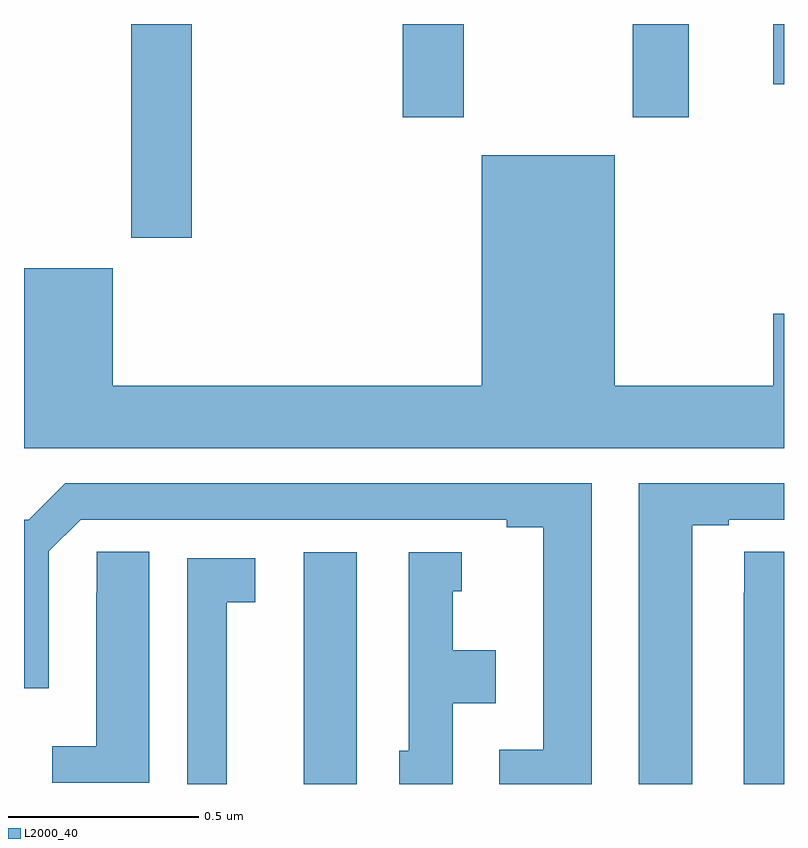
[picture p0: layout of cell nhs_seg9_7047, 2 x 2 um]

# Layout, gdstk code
import gdstk
lib = gdstk.Library(unit=1e-6, precision=1e-09)
def R(c, l, rs):  # rectangles x0, y0, x1, y1
    for r in rs: c.add(gdstk.rectangle(r[:2], r[2:], *l))
def P(c, l, *ps):  # polygons
    for p in ps: c.add(gdstk.Polygon(p, *l))
L2000_40 = (2000, 40)

nhs_seg9_7047 = lib.new_cell('nhs_seg9_7047')
R(nhs_seg9_7047, L2000_40, [(199.736,1231.5,199.876,1232.11), (199.282,1232.937,199.442,1233.5), (199.997,1233.255,200.157,1233.5), (200.602,1233.255,200.749,1233.5), (200.972,1233.342,201,1233.5)])
P(nhs_seg9_7047, L2000_40, [(201,1232.737),(200.972,1232.737),(200.972,1232.548),(200.554,1232.548),(200.554,1233.154),(200.204,1233.154),(200.204,1232.548),(199.234,1232.548),(199.234,1232.857),(199,1232.857),(199,1232.384),(201,1232.384)],
  [(200.758,1232.181),(200.854,1232.181),(200.854,1232.196),(201,1232.196),(201,1232.292),(200.618,1232.292),(200.618,1231.5),(200.758,1231.5)],
  [(200.494,1232.292),(199.109,1232.292),(199.013,1232.196),(199,1232.196),(199,1231.752),(199.065,1231.752),(199.065,1232.112),(199.149,1232.196),(200.27,1232.196),(200.27,1232.176),(200.366,1232.176),(200.366,1231.59),(200.25,1231.59),(200.25,1231.5),(200.494,1231.5)],
  [(199.33,1232.111),(199.191,1232.111),(199.191,1232.003),(199.19,1232.003),(199.19,1231.6),(199.074,1231.6),(199.074,1231.503),(199.33,1231.503)],
  [(201,1232.111),(200.895,1232.111),(200.895,1232.003),(200.894,1232.003),(200.894,1231.5),(201,1231.5)],
  [(200.128,1231.712),(200.242,1231.712),(200.242,1231.852),(200.128,1231.852),(200.128,1232.007),(200.152,1232.007),(200.152,1232.11),(200.012,1232.11),(200.012,1231.587),(199.988,1231.587),(199.988,1231.5),(200.128,1231.5)],
  [(199.534,1231.978),(199.609,1231.978),(199.609,1232.094),(199.43,1232.094),(199.43,1231.5),(199.534,1231.5)])

lib.write_gds('nhs_seg9_7047.gds')
